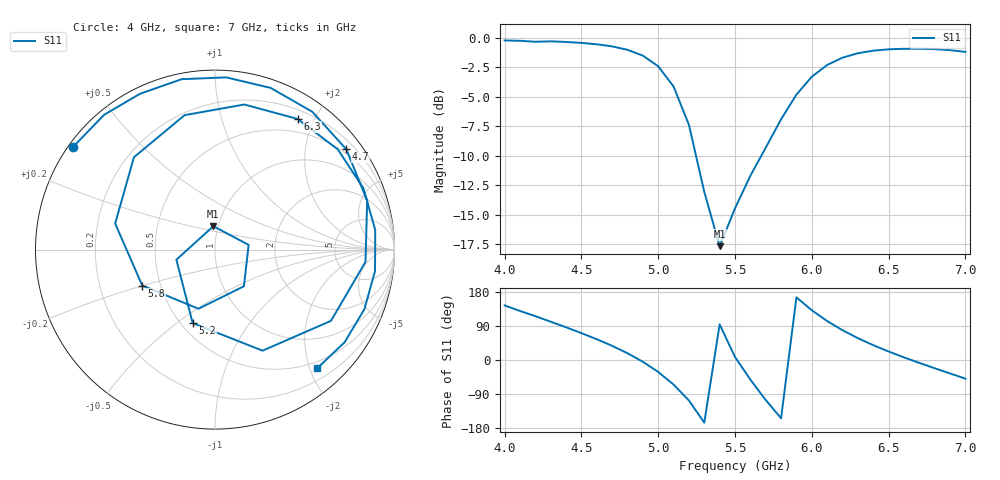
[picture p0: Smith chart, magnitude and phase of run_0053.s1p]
! Touchstone file exported from HFSS 2024.2.0
!  File:  C:/Users/wsak9/Desktop/Sim Fast/Widenad Patch/WP_AI_V1_sweep.aedt
!  Generated:  05:07:47 PM Oct 13, 2026
!  Design:  A1_model
!  Project:  WP_AI_V1_sweep
!  Setup:  Setup1
!  Solution:  Sweep
! Variables:
!  Air_gap = 2.29mm
!  Curve_Amp1 = 2.31
!  Curve_len1 = 1
!  Curve_pos = 10.355mm
!  Extra = 2.41mm
!  H_sub = 0.79mm
!  L_Patch = 16.71mm
!  L_Patch1 = 12.61mm
!  Sx = 4.42mm
!  Sy = 4.56mm
!  WS = 0.9mm
!  W_Patch = 22.93mm
!  W_Patch1 = 10.2mm
!Data is not renormalized
# GHz S MA
! Terminal data exported
! Port[1] = 1
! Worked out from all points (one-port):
!   31 points, 4 GHz to 7 GHz, reference per port
!   lowest |S11| = -17.7 dB at 5.4 GHz (marker M1), VSWR 1.30
!   |S11| at or under -10 dB: 5.246 GHz to 5.671 GHz (425 MHz wide, 7.79 % of centre)
!   S11 on the Smith chart (normalised r, x): 4 GHz: 0.01, +0.32; 4.7 GHz: 0.40, +2.91; 5.2 GHz: 0.57, -0.57; 5.8 GHz: 0.39, -0.20; 6.3 GHz: 0.31, +1.77; 7 GHz: 0.38, -2.13
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4  0.9758 144.0
4.2  0.9635 115.7
4.3  0.9674 101.1
4.4  0.9616 86.3
4.5  0.9527 71.0
4.6  0.94 54.8
4.7  0.9208 37.3
4.8  0.8906 17.8
4.9  0.8413 -4.7
5  0.7583 -31.6
5.1  0.6224 -64.8
5.2  0.4279 -106.9
5.3  0.2224 -165.4
5.4  0.1308 94.0
5.5  0.1892 8.0
5.6  0.2602 -51.7
5.7  0.3422 -105.6
5.8  0.452 -153.7
5.9  0.5749 165.4
6  0.6847 131.3
6.1  0.7679 102.7
6.2  0.8248 78.6
6.3  0.8613 57.7
6.4  0.8832 39.2
6.5  0.8948 22.4
6.7  0.8996 -7.6
6.8  0.8962 -21.7
7  0.8728 -49.2
